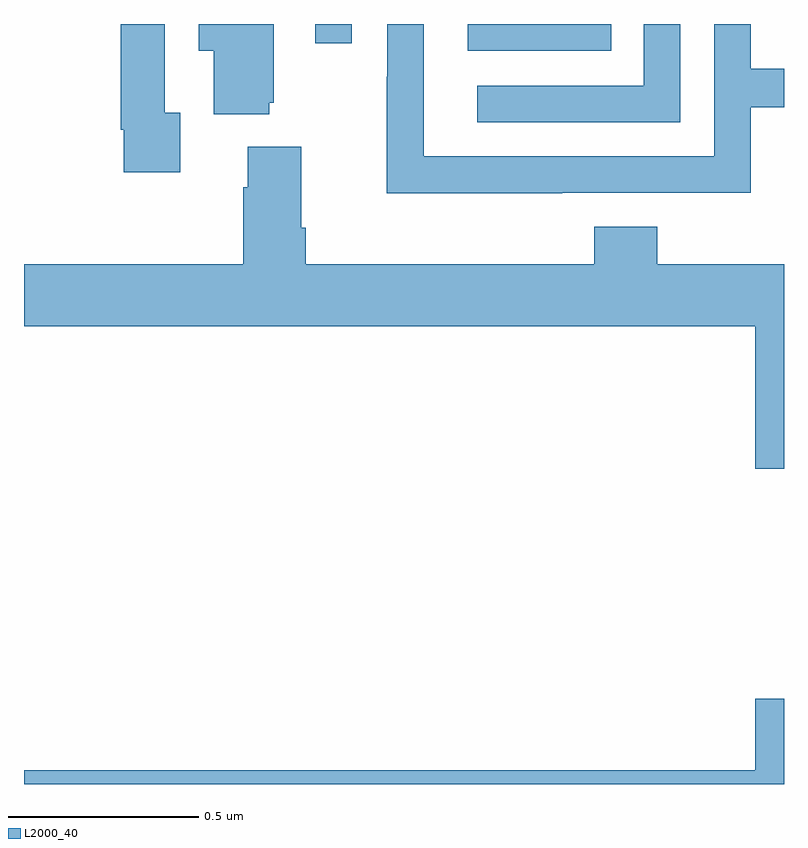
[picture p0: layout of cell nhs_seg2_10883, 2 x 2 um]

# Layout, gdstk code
import gdstk
lib = gdstk.Library(unit=1e-6, precision=1e-09)
def R(c, l, rs):  # rectangles x0, y0, x1, y1
    for r in rs: c.add(gdstk.rectangle(r[:2], r[2:], *l))
def P(c, l, *ps):  # polygons
    for p in ps: c.add(gdstk.Polygon(p, *l))
L2000_40 = (2000, 40)

nhs_seg2_10883 = lib.new_cell('nhs_seg2_10883')
R(nhs_seg2_10883, L2000_40, [(248.168,613.73,248.546,613.8), (247.767,613.749,247.863,613.8)])
P(nhs_seg2_10883, L2000_40, [(248.417,613.356),(248.913,613.356),(248.913,613.581),(249,613.581),(249,613.682),(248.913,613.682),(248.913,613.8),(248.817,613.8),(248.817,613.452),(248.052,613.452),(248.052,613.8),(247.956,613.8),(247.956,613.661),(247.954,613.661),(247.954,613.355),(248.417,613.355)],
  [(248.727,613.8),(248.631,613.8),(248.631,613.638),(248.193,613.638),(248.193,613.542),(248.727,613.542)],
  [(247.411,613.566),(247.371,613.566),(247.371,613.8),(247.255,613.8),(247.255,613.522),(247.263,613.522),(247.263,613.41),(247.411,613.41)],
  [(247.646,613.593),(247.657,613.593),(247.657,613.8),(247.46,613.8),(247.46,613.73),(247.499,613.73),(247.499,613.562),(247.646,613.562)],
  [(249,613.168),(248.666,613.168),(248.666,613.267),(248.501,613.267),(248.501,613.168),(247.742,613.168),(247.742,613.264),(247.729,613.264),(247.729,613.477),(247.589,613.477),(247.589,613.37),(247.577,613.37),(247.577,613.168),(247,613.168),(247,613.004),(248.924,613.004),(248.924,612.63),(249,612.63)],
  [(249,612.025),(248.924,612.025),(248.924,611.836),(247,611.836),(247,611.8),(249,611.8)])

lib.write_gds('nhs_seg2_10883.gds')
